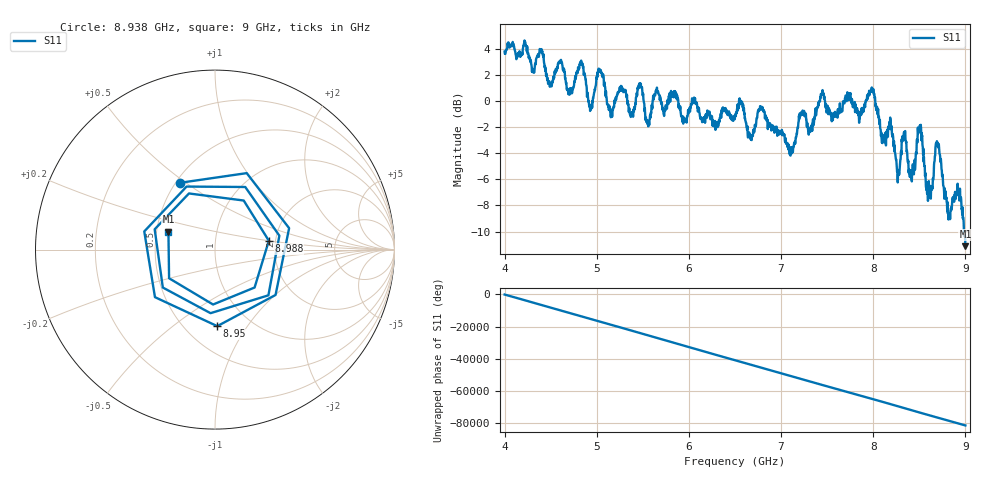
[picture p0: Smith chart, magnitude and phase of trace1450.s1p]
! Created with skrf 1.8.0 (http://scikit-rf.org).
# Hz S RI R 50.0
!freq ReS11 ImS11
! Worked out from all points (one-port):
!   1601 points, 4 GHz to 9 GHz, reference 50 ohm
!   lowest |S11| = -11.1 dB at 9 GHz (marker M1), VSWR 1.77, Z = 28.9 + j6.25 ohm
!   |S11| at or under -10 dB: 8.984169 GHz to end of sweep
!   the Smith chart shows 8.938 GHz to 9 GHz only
!   S11 on the Smith chart (normalised r, x): 8.938 GHz: 0.53, +0.48; 8.95 GHz: 0.71, -0.74; 8.988 GHz: 1.84, +0.20; 9 GHz: 0.58, +0.13
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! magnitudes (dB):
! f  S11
! 4 GHz  3.8
! 4.625 GHz  2.8
! 4.709 GHz  0.5
! 4.838 GHz  2.9
! 4.931 GHz  -0.5
! 5.034 GHz  2.4
! 5.15 GHz  -1.1
! 5.25 GHz  1.0
! 5.378 GHz  -1.2
! 5.469 GHz  1.3
! 5.553 GHz  -1.5
! 5.875 GHz  0.1
! 6.5 GHz  -1.3
! 7.125 GHz  -3.5
! 7.438 GHz  0.4
! 7.75 GHz  0.5
! 7.988 GHz  0.9
! 8.262 GHz  -5.3
! 8.334 GHz  -2.4
! 8.375 GHz  -4.7
! 8.506 GHz  -1.9
! 8.6 GHz  -6.8
! 8.7 GHz  -3.5
! 8.812 GHz  -8.5
! 8.938 GHz  -7.5
! 8.95 GHz  -7.4
! 8.988 GHz  -10.3
! 9 GHz  -11.1
